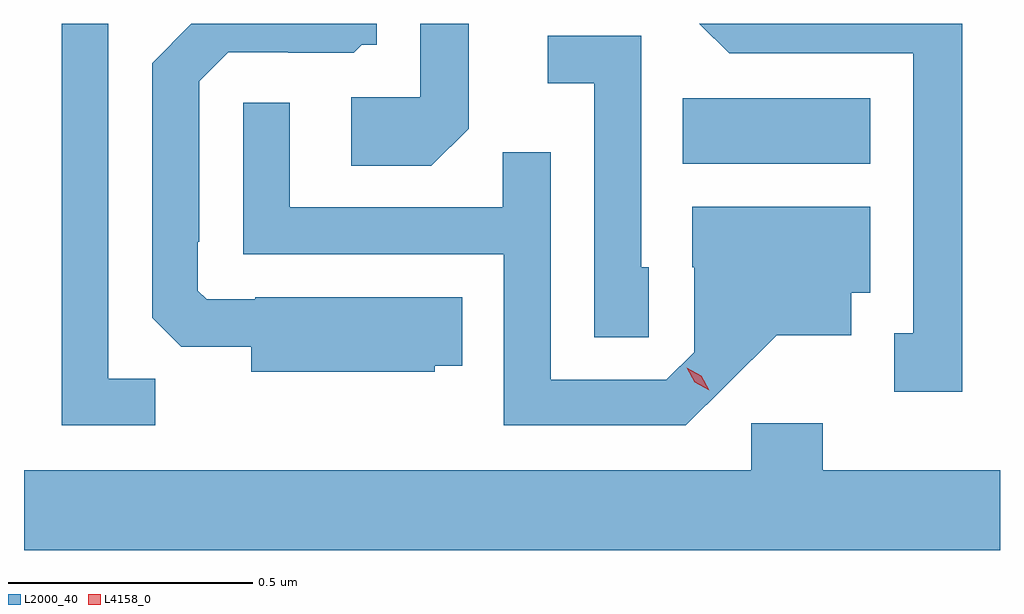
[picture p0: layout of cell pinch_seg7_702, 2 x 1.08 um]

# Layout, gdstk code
import gdstk
lib = gdstk.Library(unit=1e-6, precision=1e-09)
def R(c, l, rs):  # rectangles x0, y0, x1, y1
    for r in rs: c.add(gdstk.rectangle(r[:2], r[2:], *l))
def P(c, l, *ps):  # polygons
    for p in ps: c.add(gdstk.Polygon(p, *l))
L2000_40 = (2000, 40)
L4158_0 = (4158, 0)

pinch_seg7_702 = lib.new_cell('pinch_seg7_702')
R(pinch_seg7_702, L2000_40, [(150.91,1010.732,151.294,1010.866)])
P(pinch_seg7_702, L2000_40, [(150.402,1010.318),(150.458,1010.318),(150.458,1010.458),(150.034,1010.458),(150.034,1010.454),(149.934,1010.454),(149.916,1010.472),(149.916,1010.572),(149.919,1010.572),(149.919,1010.901),(149.979,1010.961),(150.102,1010.961),(150.102,1010.96),(150.236,1010.96),(150.252,1010.976),(150.283,1010.976),(150.283,1011.019),(149.903,1011.019),(149.823,1010.938),(149.823,1010.416),(149.882,1010.357),(150.026,1010.357),(150.026,1010.306),(150.402,1010.306)],
  [(149.829,1010.291),(149.733,1010.291),(149.733,1011.019),(149.637,1011.019),(149.637,1010.196),(149.829,1010.196)],
  [(150.471,1010.804),(150.471,1011.019),(150.372,1011.019),(150.372,1010.868),(150.231,1010.868),(150.231,1010.728),(150.395,1010.728)],
  [(151.483,1011.019),(150.944,1011.019),(151.005,1010.958),(151.382,1010.958),(151.382,1010.385),(151.343,1010.385),(151.343,1010.265),(151.483,1010.265)],
  [(150.84,1010.52),(150.825,1010.52),(150.825,1010.994),(150.633,1010.994),(150.633,1010.897),(150.729,1010.897),(150.729,1010.377),(150.84,1010.377)],
  [(151,1010.279),(151.103,1010.381),(151.255,1010.381),(151.255,1010.468),(151.294,1010.468),(151.294,1010.644),(150.929,1010.644),(150.929,1010.52),(150.933,1010.52),(150.933,1010.346),(150.876,1010.289),(150.639,1010.289),(150.639,1010.756),(150.541,1010.756),(150.541,1010.643),(150.105,1010.643),(150.105,1010.857),(150.009,1010.857),(150.009,1010.547),(150.543,1010.547),(150.543,1010.196),(150.916,1010.196)],
  [(151.56,1010.104),(151.197,1010.104),(151.197,1010.2),(151.05,1010.2),(151.05,1010.104),(149.56,1010.104),(149.56,1009.94),(151.56,1009.94)])
P(pinch_seg7_702, L4158_0, [(150.964,1010.268),(150.934,1010.284),(150.918,1010.314),(150.918,1010.314),(150.918,1010.314),(150.948,1010.298),(150.964,1010.268),(150.964,1010.268)])

lib.write_gds('pinch_seg7_702.gds')
